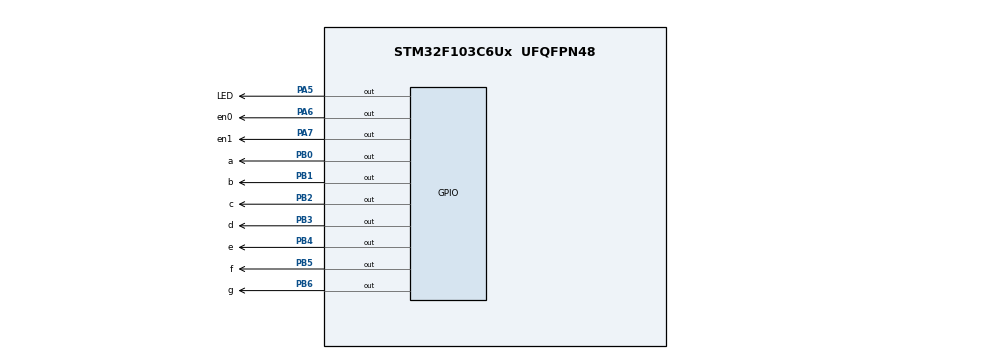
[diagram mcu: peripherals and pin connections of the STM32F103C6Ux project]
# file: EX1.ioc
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Mcu.Family=STM32F1
Mcu.Name=STM32F103C6Ux
Mcu.Package=UFQFPN48
NVIC.PriorityGroup=NVIC_PRIORITYGROUP_4
NVIC.TIM2_IRQn=true\:0\:0\:false\:false\:true\:true\:true
PA5.GPIO_Label=LED
PA5.Signal=GPIO_Output
PA6.GPIO_Label=en0
PA6.Signal=GPIO_Output
PA7.GPIO_Label=en1
PA7.Signal=GPIO_Output
PB0.GPIO_Label=a
PB0.Signal=GPIO_Output
PB1.GPIO_Label=b
PB1.Signal=GPIO_Output
PB2.GPIO_Label=c
PB2.Signal=GPIO_Output
PB3.GPIO_Label=d
PB3.Signal=GPIO_Output
PB4.GPIO_Label=e
PB4.Signal=GPIO_Output
PB5.GPIO_Label=f
PB5.Signal=GPIO_Output
PB6.GPIO_Label=g
PB6.Signal=GPIO_Output
ProjectManager.HeapSize=0x200
ProjectManager.StackSize=0x400
ProjectManager.TargetToolchain=STM32CubeIDE
RCC.APB1Freq_Value=8000000
RCC.APB2Freq_Value=8000000
TIM2.Period=499
TIM2.Prescaler=7999
VP_SYS_VS_ND.Mode=No_Debug
VP_TIM2_VS_ClockSourceINT.Mode=Internal
board=custom

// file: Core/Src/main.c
/* USER CODE BEGIN Header */
/**
  ******************************************************************************
  * @file           : main.c
  * @brief          : Main program body
  ******************************************************************************
  * @attention
  *
  * <h2><center>&copy; Copyright (c) 2022 STMicroelectronics.
  * All rights reserved.</center></h2>
  *
  * This software component is licensed by ST under BSD 3-Clause license,
  * the "License"; You may not use this file except in compliance with the
  * License. You may obtain a copy of the License at:
  *                        opensource.org/licenses/BSD-3-Clause
  *
  ******************************************************************************
  */
/* USER CODE END Header */
#include "main.h"

/* USER CODE BEGIN Includes */
#include "software_timer.h"
/* USER CODE END Includes */

TIM_HandleTypeDef htim2;

void SystemClock_Config(void);
static void MX_GPIO_Init(void);
static void MX_TIM2_Init(void);

/* USER CODE BEGIN 0 */
void display7SEG(int num){
	HAL_GPIO_WritePin (GPIOB,a_Pin|b_Pin|c_Pin|d_Pin|e_Pin|f_Pin|g_Pin, GPIO_PIN_SET ) ;
	switch(num){
	case 0:
		HAL_GPIO_TogglePin (GPIOB,a_Pin|b_Pin|c_Pin|d_Pin|e_Pin|f_Pin) ;
		break;
	case 1:
		HAL_GPIO_TogglePin (GPIOB ,b_Pin|c_Pin ) ;
		break;
	case 2:
		HAL_GPIO_TogglePin (GPIOB,a_Pin|b_Pin|g_Pin|d_Pin|e_Pin) ;
		break;
	case 3:
		HAL_GPIO_TogglePin (GPIOB,a_Pin|b_Pin|g_Pin|c_Pin|d_Pin) ;
		break;
	case 4:
		HAL_GPIO_TogglePin (GPIOB,f_Pin|g_Pin|b_Pin|c_Pin) ;
		break;
	case 5:
		HAL_GPIO_TogglePin (GPIOB,a_Pin|f_Pin|g_Pin|c_Pin|d_Pin) ;
		break;
	case 6 :
		HAL_GPIO_TogglePin (GPIOB,a_Pin|f_Pin|g_Pin|e_Pin|c_Pin|d_Pin) ;
		break;
	case 7 :
		HAL_GPIO_TogglePin (GPIOB,a_Pin|b_Pin|c_Pin ) ;
		break;
	case 8:
		HAL_GPIO_TogglePin (GPIOB,a_Pin|b_Pin|c_Pin|d_Pin|e_Pin|f_Pin|g_Pin) ;
		break;
	case 9:
		HAL_GPIO_TogglePin (GPIOB,a_Pin|b_Pin|c_Pin|d_Pin|f_Pin|g_Pin) ;
		break;
	}
	return;
}

/* USER CODE END 0 */

int main(void)
{

  /* MCU Configuration--------------------------------------------------------*/

  /* Reset of all peripherals, Initializes the Flash interface and the Systick. */
  HAL_Init();

  /* Configure the system clock */
  SystemClock_Config();

  /* Initialize all configured peripherals */
  MX_GPIO_Init();
  MX_TIM2_Init();
  /* USER CODE BEGIN 2 */
  HAL_TIM_Base_Start_IT (& htim2 ) ;
  /* USER CODE END 2 */

  /* Infinite loop */
  while (1)
  {

  }
}

void SystemClock_Config(void)
{
  RCC_OscInitTypeDef RCC_OscInitStruct = {0};
  RCC_ClkInitTypeDef RCC_ClkInitStruct = {0};

  /** Initializes the RCC Oscillators according to the specified parameters
  * in the RCC_OscInitTypeDef structure.
  */
  RCC_OscInitStruct.OscillatorType = RCC_OSCILLATORTYPE_HSI;
  RCC_OscInitStruct.HSIState = RCC_HSI_ON;
  RCC_OscInitStruct.HSICalibrationValue = RCC_HSICALIBRATION_DEFAULT;
  RCC_OscInitStruct.PLL.PLLState = RCC_PLL_NONE;
  if (HAL_RCC_OscConfig(&RCC_OscInitStruct) != HAL_OK)
  {
    Error_Handler();
  }
  /** Initializes the CPU, AHB and APB buses clocks
  */
  RCC_ClkInitStruct.ClockType = RCC_CLOCKTYPE_HCLK|RCC_CLOCKTYPE_SYSCLK
                              |RCC_CLOCKTYPE_PCLK1|RCC_CLOCKTYPE_PCLK2;
  RCC_ClkInitStruct.SYSCLKSource = RCC_SYSCLKSOURCE_HSI;
  RCC_ClkInitStruct.AHBCLKDivider = RCC_SYSCLK_DIV1;
  RCC_ClkInitStruct.APB1CLKDivider = RCC_HCLK_DIV1;
  RCC_ClkInitStruct.APB2CLKDivider = RCC_HCLK_DIV1;

  if (HAL_RCC_ClockConfig(&RCC_ClkInitStruct, FLASH_LATENCY_0) != HAL_OK)
  {
    Error_Handler();
  }
}

static void MX_TIM2_Init(void)
{

  TIM_ClockConfigTypeDef sClockSourceConfig = {0};
  TIM_MasterConfigTypeDef sMasterConfig = {0};

  htim2.Instance = TIM2;
  htim2.Init.Prescaler = 7999;
  htim2.Init.CounterMode = TIM_COUNTERMODE_UP;
  htim2.Init.Period = 499;
  htim2.Init.ClockDivision = TIM_CLOCKDIVISION_DIV1;
  htim2.Init.AutoReloadPreload = TIM_AUTORELOAD_PRELOAD_DISABLE;
  if (HAL_TIM_Base_Init(&htim2) != HAL_OK)
  {
    Error_Handler();
  }
  sClockSourceConfig.ClockSource = TIM_CLOCKSOURCE_INTERNAL;
  if (HAL_TIM_ConfigClockSource(&htim2, &sClockSourceConfig) != HAL_OK)
  {
    Error_Handler();
  }
  sMasterConfig.MasterOutputTrigger = TIM_TRGO_RESET;
  sMasterConfig.MasterSlaveMode = TIM_MASTERSLAVEMODE_DISABLE;
  if (HAL_TIMEx_MasterConfigSynchronization(&htim2, &sMasterConfig) != HAL_OK)
  {
    Error_Handler();
  }

}

static void MX_GPIO_Init(void)
{
  GPIO_InitTypeDef GPIO_InitStruct = {0};

  /* GPIO Ports Clock Enable */
  __HAL_RCC_GPIOA_CLK_ENABLE();
  __HAL_RCC_GPIOB_CLK_ENABLE();

  /*Configure GPIO pin Output Level */
  HAL_GPIO_WritePin(GPIOA, LED_Pin|en0_Pin|en1_Pin, GPIO_PIN_RESET);

  /*Configure GPIO pin Output Level */
  HAL_GPIO_WritePin(GPIOB, a_Pin|b_Pin|c_Pin|d_Pin
                          |e_Pin|f_Pin|g_Pin, GPIO_PIN_RESET);

  /*Configure GPIO pins : LED_Pin en0_Pin en1_Pin */
  GPIO_InitStruct.Pin = LED_Pin|en0_Pin|en1_Pin;
  GPIO_InitStruct.Mode = GPIO_MODE_OUTPUT_PP;
  GPIO_InitStruct.Pull = GPIO_NOPULL;
  GPIO_InitStruct.Speed = GPIO_SPEED_FREQ_LOW;
  HAL_GPIO_Init(GPIOA, &GPIO_InitStruct);

  /*Configure GPIO pins : a_Pin b_Pin c_Pin d_Pin
                           e_Pin f_Pin g_Pin */
  GPIO_InitStruct.Pin = a_Pin|b_Pin|c_Pin|d_Pin
                          |e_Pin|f_Pin|g_Pin;
  GPIO_InitStruct.Mode = GPIO_MODE_OUTPUT_PP;
  GPIO_InitStruct.Pull = GPIO_NOPULL;
  GPIO_InitStruct.Speed = GPIO_SPEED_FREQ_LOW;
  HAL_GPIO_Init(GPIOB, &GPIO_InitStruct);

}

/* USER CODE BEGIN 4 */
int sw =1 ;
void HAL_TIM_PeriodElapsedCallback ( TIM_HandleTypeDef * htim ){
	 if (sw == 1){
		 HAL_GPIO_WritePin (en0_GPIO_Port,en0_Pin, GPIO_PIN_RESET ) ;
		 HAL_GPIO_WritePin (en1_GPIO_Port,en1_Pin, GPIO_PIN_SET ) ;
		 display7SEG(1);
		 sw =2;
	 }
	 else{
		 HAL_GPIO_WritePin (en0_GPIO_Port,en0_Pin, GPIO_PIN_SET ) ;
		 HAL_GPIO_WritePin (en1_GPIO_Port,en1_Pin, GPIO_PIN_RESET ) ;
		 sw = 1;
		 display7SEG(2);
	 }
}

/* USER CODE END 4 */

void Error_Handler(void)
{
  __disable_irq();
  while (1)
  {
  }
}

/************************ (C) COPYRIGHT STMicroelectronics *****END OF FILE****/
